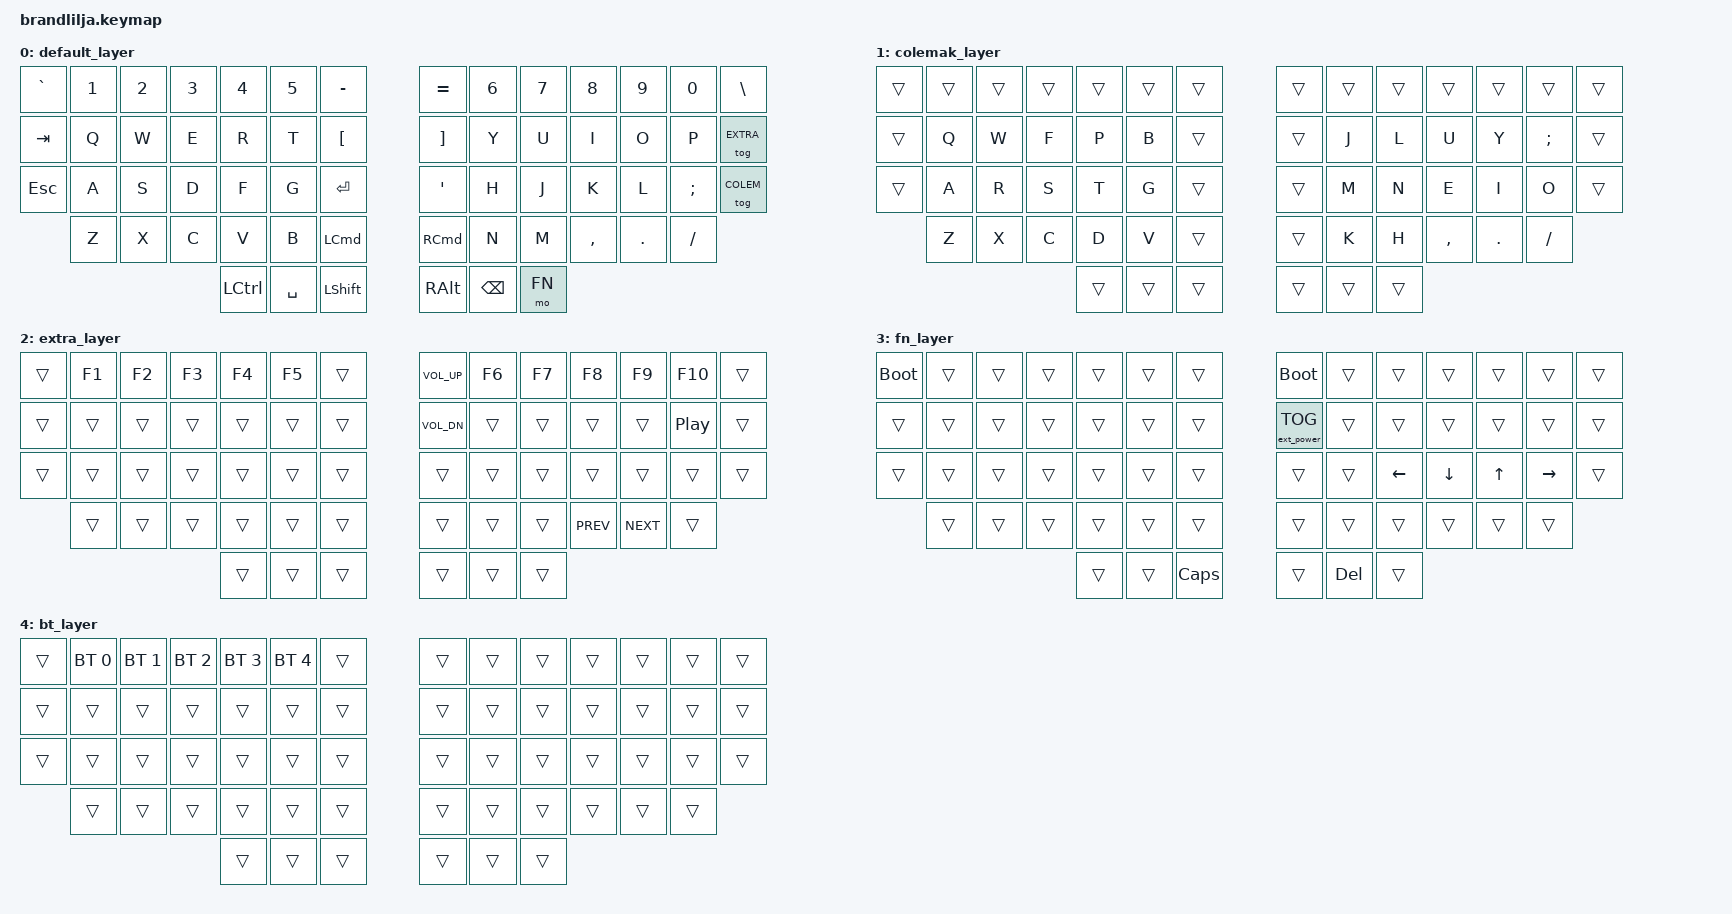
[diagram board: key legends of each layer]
#include <behaviors.dtsi>
#include <dt-bindings/zmk/keys.h>
#include <dt-bindings/zmk/bt.h>
#include <dt-bindings/zmk/ext_power.h>

#define BASE   0
#define COLEM  1
#define EXTRA  2
#define FN     3
#define BLUET  4

&pinctrl {
    spi0_default: spi0_default {
        group1 {
            psels = <NRF_PSEL(SPIM_SCK, 1, 2)>,
                <NRF_PSEL(SPIM_MOSI, 1, 7)>,
                <NRF_PSEL(SPIM_MISO, 0, 19)>; /* GPIO0 19 is not broken on a nice!nano.*/
        };
    };
    spi0_sleep: spi0_sleep {
        group1 {
            psels = <NRF_PSEL(SPIM_SCK, 1, 2)>,
                <NRF_PSEL(SPIM_MOSI, 1, 7)>,
                <NRF_PSEL(SPIM_MISO, 0, 19)>; /* GPIO0 19 is not broken on a nice!nano.*/
            low-power-enable;
        };
    };
};


nice_view_spi: &spi0 {
    compatible = "nordic,nrf-spim";
    pinctrl-0 = <&spi0_default>;
    pinctrl-1 = <&spi0_sleep>;
    pinctrl-names = "default", "sleep";
    cs-gpios = <&gpio1 1 GPIO_ACTIVE_HIGH>;
};

/ {
    combos {
        compatible = "zmk,combos";
        combo_bluetooth {
            timeout-ms = <100>;
            key-positions = <28 59>;
            bindings = <&tog BLUET>;
        };

    };

    keymap {
        compatible = "zmk,keymap";

        default_layer {
            bindings = <
                &kp GRAVE     &kp N1    &kp N2     &kp N3     &kp N4     &kp N5     &kp MINUS            &kp EQUAL     &kp N6     &kp N7     &kp N8     &kp N9     &kp N0       &kp  BSLH  // 13
                &kp TAB       &kp Q     &kp W      &kp E      &kp R      &kp T      &kp LBKT             &kp RBKT      &kp Y      &kp U      &kp I      &kp O      &kp P        &tog EXTRA // 27
                &kp ESC/*28*/ &kp A     &kp S      &kp D      &kp F      &kp G      &kp RETURN           &kp SQT       &kp H      &kp J      &kp K      &kp L      &kp SCLN     &tog COLEM // 41
                              &kp Z     &kp X      &kp C      &kp V      &kp B      &kp LCMD             &kp RCMD      &kp N      &kp M      &kp CMMA   &kp DOT    &kp FSLH     
                                                              &kp LCTRL  &kp SPC    &kp LSHFT            &kp RALT      &kp BSPC   &mo FN
                                                                                                                                  // 59
            >;
        };

        colemak_layer {
            bindings = <                                                                                                                                                                          
                &trans        &trans    &trans     &trans     &trans     &trans     &trans               &trans        &trans     &trans     &trans     &trans     &trans       &trans 
                &trans        &kp Q     &kp W      &kp F      &kp P      &kp B      &trans               &trans        &kp J      &kp L      &kp U      &kp Y      &kp SCLN     &trans
                &trans        &kp A     &kp R      &kp S      &kp T      &kp G      &trans               &trans        &kp M      &kp N      &kp E      &kp I      &kp O        &trans
                              &kp Z     &kp X      &kp C      &kp D      &kp V      &trans               &trans        &kp K      &kp H      &kp CMMA   &kp DOT    &kp FSLH     
                                                              &trans     &trans     &trans               &trans        &trans     &trans
            >;
        };

        extra_layer {
            bindings = <                                                                                                                                                                          
                &trans        &kp F1    &kp F2     &kp F3     &kp F4     &kp F5     &trans               &kp C_VOL_UP  &kp F6        &kp F7      &kp F8     &kp F9      &kp F10      &trans
                &trans        &trans    &trans     &trans     &trans     &trans     &trans               &kp C_VOL_DN  &trans        &trans      &trans     &trans      &kp C_PP     &trans
                &trans        &trans    &trans     &trans     &trans     &trans     &trans               &trans        &trans        &trans      &trans     &trans      &trans       &trans
                              &trans    &trans     &trans     &trans     &trans     &trans               &trans        &trans        &trans      &kp C_PREV &kp C_NEXT  &trans             
                                                              &trans     &trans     &trans               &trans        &trans        &trans                                                
            >;
        };

        fn_layer {
             bindings = <                                                                                                                                                                          
                &bootloader   &trans    &trans     &trans     &trans     &trans     &trans               &bootloader   &trans        &trans      &trans     &trans      &trans       &trans
                &trans        &trans    &trans     &trans     &trans     &trans     &trans               &ext_power EP_TOG &trans        &trans      &trans     &trans      &trans       &trans
                &trans        &trans    &trans     &trans     &trans     &trans     &trans               &trans        &trans        &kp LEFT    &kp DOWN   &kp UP      &kp RIGHT    &trans
                              &trans    &trans     &trans     &trans     &trans     &trans               &trans        &trans        &trans      &trans     &trans      &trans       
                                                              &trans     &trans     &kp CAPS             &trans        &kp DEL       &trans      
            >;
        };

        bt_layer {
             bindings = <                                                                                                                                                                          
                &trans        &bt BT_SEL 0    &bt BT_SEL 1     &bt BT_SEL 2     &bt BT_SEL 3     &bt BT_SEL 4   &trans               &trans        &trans        &trans      &trans     &trans      &trans       &trans
                &trans        &trans          &trans           &trans           &trans           &trans         &trans               &trans        &trans        &trans      &trans     &trans      &trans       &trans
                &trans        &trans          &trans           &trans           &trans           &trans         &trans               &trans        &trans        &trans      &trans     &trans      &trans       &trans
                              &trans          &trans           &trans           &trans           &trans         &trans               &trans        &trans        &trans      &trans     &trans      &trans
                                                                                &trans           &trans         &trans               &trans        &trans        &trans
            >;
        };
    };
};
